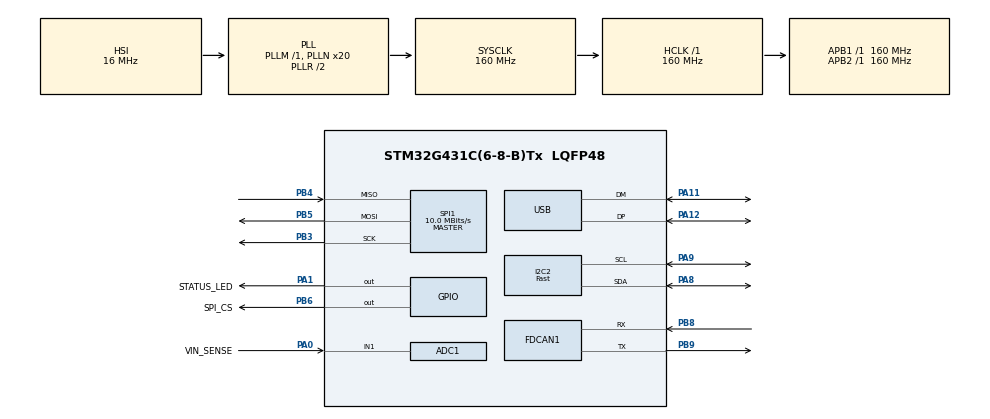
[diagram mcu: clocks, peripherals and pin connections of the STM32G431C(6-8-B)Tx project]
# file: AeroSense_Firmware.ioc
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ADC1.Channel-0\#ChannelRegularConversion=ADC_CHANNEL_1
ADC1.EnableAnalogWatchDog3=true
ADC1.NbrOfConversionFlag=1
ADC1.OffsetNumber-0\#ChannelRegularConversion=ADC_OFFSET_NONE
ADC1.Rank-0\#ChannelRegularConversion=1
ADC1.SamplingTime-0\#ChannelRegularConversion=ADC_SAMPLETIME_47CYCLES_5
ADC1.master=1
FDCAN1.CalculateBaudRateNominal=500000
FDCAN1.CalculateTimeBitNominal=2000
FDCAN1.CalculateTimeQuantumNominal=100.0
FDCAN1.NominalSyncJumpWidth=4
FDCAN1.NominalTimeSeg1=15
FDCAN1.NominalTimeSeg2=4
I2C2.I2C_Speed_Mode=I2C_Fast
I2C2.Timing=0x10F32A82
IWDG.Prescaler=IWDG_PRESCALER_32
IWDG.Reload=1999
Mcu.Family=STM32G4
Mcu.Name=STM32G431C(6-8-B)Tx
Mcu.Package=LQFP48
NVIC.PriorityGroup=NVIC_PRIORITYGROUP_4
NVIC.USB_LP_IRQn=true\:0\:0\:false\:false\:true\:false\:true\:true
PA0.GPIO_Label=VIN_SENSE
PA0.Mode=IN1-Single-Ended
PA0.Signal=ADC1_IN1
PA1.GPIO_Label=STATUS_LED
PA1.Signal=GPIO_Output
PA11.Mode=Device
PA11.Signal=USB_DM
PA12.Mode=Device
PA12.Signal=USB_DP
PA13.Mode=Serial_Wire
PA13.Signal=SYS_JTMS-SWDIO
PA14.Mode=Serial_Wire
PA14.Signal=SYS_JTCK-SWCLK
PA8.Mode=I2C
PA8.Signal=I2C2_SDA
PA9.Mode=I2C
PA9.Signal=I2C2_SCL
PB3.Mode=Full_Duplex_Master
PB3.Signal=SPI1_SCK
PB4.Mode=Full_Duplex_Master
PB4.Signal=SPI1_MISO
PB5.Mode=Full_Duplex_Master
PB5.Signal=SPI1_MOSI
PB6.GPIO_Label=SPI_CS
PB6.PinState=GPIO_PIN_SET
PB6.Signal=GPIO_Output
PB8-BOOT0.Mode=FDCAN_Activate
PB8-BOOT0.Signal=FDCAN1_RX
PB9.Mode=FDCAN_Activate
PB9.Signal=FDCAN1_TX
ProjectManager.HeapSize=0x200
ProjectManager.StackSize=0x400
ProjectManager.TargetToolchain=CMake
RCC.ADC12Freq_Value=160000000
RCC.AHBFreq_Value=160000000
RCC.APB1Freq_Value=160000000
RCC.APB1TimFreq_Value=160000000
RCC.APB2Freq_Value=160000000
RCC.APB2TimFreq_Value=160000000
RCC.CK48CLockSelection=RCC_USBCLKSOURCE_HSI48
RCC.CortexFreq_Value=160000000
RCC.EXTERNAL_CLOCK_VALUE=12288000
RCC.HCLKFreq_Value=160000000
RCC.HSE_VALUE=8000000
RCC.HSI48_VALUE=48000000
RCC.HSI_VALUE=16000000
RCC.LSE_VALUE=32768
RCC.PLLN=20
RCC.SYSCLKFreq_VALUE=160000000
RCC.SYSCLKSource=RCC_SYSCLKSOURCE_PLLCLK
RCC.USBFreq_Value=48000000
RCC.VCOOutputFreq_Value=320000000
SPI1.BaudRatePrescaler=SPI_BAUDRATEPRESCALER_16
SPI1.CalculateBaudRate=10.0 MBits/s
SPI1.DataSize=SPI_DATASIZE_8BIT
SPI1.Direction=SPI_DIRECTION_2LINES
SPI1.Mode=SPI_MODE_MASTER
SPI1.VirtualType=VM_MASTER
USB_DEVICE.CLASS_NAME_FS=CDC
USB_DEVICE.VirtualMode=Cdc
USB_DEVICE.VirtualModeFS=Cdc_FS
VP_IWDG_VS_IWDG.Mode=IWDG_Activate
VP_SYS_VS_DBSignals.Mode=DisableDeadBatterySignals
VP_USB_DEVICE_VS_USB_DEVICE_CDC_FS.Mode=CDC_FS
board=custom

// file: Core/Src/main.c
/* USER CODE BEGIN Header */
/**
  ******************************************************************************
  * @file           : main.c
  * @brief          : Main program body
  ******************************************************************************
  * @attention
  *
  * Copyright (c) 2026 STMicroelectronics.
  * All rights reserved.
  *
  * This software is licensed under terms that can be found in the LICENSE file
  * in the root directory of this software component.
  * If no LICENSE file comes with this software, it is provided AS-IS.
  *
  ******************************************************************************
  */
/* USER CODE END Header */
#include "main.h"
#include "usb_device.h"

/* USER CODE BEGIN Includes */
#include "status_led.h"
#include "measurement_manager.h"
#include "can_message_manager.h"
#include "diagnostic_manager.h"
#include "system_manager.h"
#include "scheduler.h"
#include "execution_supervision.h"
#include "configuration_manager.h"
#include "usb_driver.h"
/* USER CODE END Includes */

ADC_HandleTypeDef hadc1;

FDCAN_HandleTypeDef hfdcan1;

I2C_HandleTypeDef hi2c2;

IWDG_HandleTypeDef hiwdg;

SPI_HandleTypeDef hspi1;

/* USER CODE BEGIN PV */

MEASUREMENT_MANAGER_Status_t measurement_status;
CANMSG_Status_t canmsg_status;
SYSTEM_MANAGER_Status_t system_status;

const SCHEDULER_Tasks_t *scheduler_tasks;

uint32_t now_ms;
uint32_t last_led_toggle_ms;
static uint8_t watchdog_reset_detected = 0U;

/* USER CODE END PV */

void SystemClock_Config(void);
static void MX_GPIO_Init(void);
static void MX_ADC1_Init(void);
static void MX_FDCAN1_Init(void);
static void MX_I2C2_Init(void);
static void MX_SPI1_Init(void);
static void MX_IWDG_Init(void);

int main(void)
{

  /* MCU Configuration--------------------------------------------------------*/

  /* Reset of all peripherals, Initializes the Flash interface and the Systick. */
  HAL_Init();

  /* USER CODE BEGIN Init */

  if (__HAL_RCC_GET_FLAG(RCC_FLAG_IWDGRST) != RESET)
{
    watchdog_reset_detected = 1U;
}

  __HAL_RCC_CLEAR_RESET_FLAGS();

  /* USER CODE END Init */

  /* Configure the system clock */
  SystemClock_Config();

  /* Initialize all configured peripherals */
  MX_GPIO_Init();
  MX_ADC1_Init();
  MX_FDCAN1_Init();
  MX_I2C2_Init();
  MX_SPI1_Init();
  MX_IWDG_Init();
  MX_USB_Device_Init();
  /* USER CODE BEGIN 2 */

STATUS_LED_Init();

DIAGNOSTIC_Init();

if (watchdog_reset_detected != 0U)
{
    DIAGNOSTIC_SetFault(
        DIAGNOSTIC_FAULT_WATCHDOG_RESET,
        DIAGNOSTIC_SEVERITY_INFO);
}

measurement_status = MEASUREMENT_MANAGER_Init();

canmsg_status = CANMSG_Init();

system_status = SYSTEM_MANAGER_Init();

now_ms = HAL_GetTick();

USB_DRIVER_Init();
CONFIGURATION_MANAGER_Init();

SCHEDULER_Init(now_ms);

scheduler_tasks = SCHEDULER_GetTasks();

last_led_toggle_ms = now_ms;

EXECUTION_SUPERVISION_Init(now_ms);

  /* USER CODE END 2 */

  /* Infinite loop */
  /* USER CODE BEGIN WHILE */
while (1)
{
    now_ms = HAL_GetTick();

    SCHEDULER_Update(now_ms);
    scheduler_tasks = SCHEDULER_GetTasks();

    /*
     * 10 ms task category
     */
    if (scheduler_tasks->task_10ms_due != 0U)
    {
        system_status = SYSTEM_MANAGER_Update();

        EXECUTION_SUPERVISION_Report10msTask();
    }

    /*
     * 20 ms task category
     */
    if (scheduler_tasks->task_20ms_due != 0U)
    {
        measurement_status =
            MEASUREMENT_MANAGER_UpdateAcceleration();

        if (canmsg_status == CANMSG_OK)
        {
            CANMSG_TransmitAcceleration();
        }

        EXECUTION_SUPERVISION_Report20msTask();
    }

    /*
     * 100 ms task category
     */
    if (scheduler_tasks->task_100ms_due != 0U)
    {

        CONFIGURATION_MANAGER_Update();

        measurement_status =
            MEASUREMENT_MANAGER_UpdateTemperature();

        measurement_status =
            MEASUREMENT_MANAGER_UpdatePressure();

        measurement_status =
            MEASUREMENT_MANAGER_UpdateVIN();

        if (canmsg_status == CANMSG_OK)
        {
            CANMSG_TransmitEnvironment();
            CANMSG_TransmitPower();
        }

        switch (SYSTEM_MANAGER_GetState())
        {
            case SYSTEM_STATE_INITIALIZATION:

                STATUS_LED_Off();
                break;

            case SYSTEM_STATE_SELF_TEST:

                if ((uint32_t)(now_ms - last_led_toggle_ms) >= 500U)
                {
                    last_led_toggle_ms = now_ms;
                    STATUS_LED_Toggle();
                }

                break;

            case SYSTEM_STATE_NORMAL_OPERATION:

                STATUS_LED_On();
                break;

            case SYSTEM_STATE_DEGRADED_OPERATION:

                if ((uint32_t)(now_ms - last_led_toggle_ms) >= 500U)
                {
                    last_led_toggle_ms = now_ms;
                    STATUS_LED_Toggle();
                }

                break;

            case SYSTEM_STATE_FAULT:

                if ((uint32_t)(now_ms - last_led_toggle_ms) >= 100U)
                {
                    last_led_toggle_ms = now_ms;
                    STATUS_LED_Toggle();
                }

                break;

            default:

                STATUS_LED_Off();
                break;
        }

        EXECUTION_SUPERVISION_Report100msTask();
    }

    /*
     * 1000 ms task category
     */
    if (scheduler_tasks->task_1000ms_due != 0U)
{
    /*
     * Attempt recovery of failed measurement channels.
     */
    measurement_status =
        MEASUREMENT_MANAGER_ProcessRecovery();

    /*
     * Transmit system status.
     */
    if (canmsg_status == CANMSG_OK)
    {
        CANMSG_TransmitStatus();
    }
}

    /*
     * Execution supervision is evaluated continuously.
     *
     * Internally, evaluation occurs once every 500 ms.
     * The watchdog is refreshed only when all required
     * cyclic task categories executed successfully.
     */
    EXECUTION_SUPERVISION_Update(now_ms);

    /* USER CODE END WHILE */

  }
}

void SystemClock_Config(void)
{
  RCC_OscInitTypeDef RCC_OscInitStruct = {0};
  RCC_ClkInitTypeDef RCC_ClkInitStruct = {0};

  /** Configure the main internal regulator output voltage
  */
  HAL_PWREx_ControlVoltageScaling(PWR_REGULATOR_VOLTAGE_SCALE1_BOOST);

  /** Initializes the RCC Oscillators according to the specified parameters
  * in the RCC_OscInitTypeDef structure.
  */
  RCC_OscInitStruct.OscillatorType = RCC_OSCILLATORTYPE_HSI|RCC_OSCILLATORTYPE_HSI48
                              |RCC_OSCILLATORTYPE_LSI;
  RCC_OscInitStruct.HSIState = RCC_HSI_ON;
  RCC_OscInitStruct.HSICalibrationValue = RCC_HSICALIBRATION_DEFAULT;
  RCC_OscInitStruct.LSIState = RCC_LSI_ON;
  RCC_OscInitStruct.HSI48State = RCC_HSI48_ON;
  RCC_OscInitStruct.PLL.PLLState = RCC_PLL_ON;
  RCC_OscInitStruct.PLL.PLLSource = RCC_PLLSOURCE_HSI;
  RCC_OscInitStruct.PLL.PLLM = RCC_PLLM_DIV1;
  RCC_OscInitStruct.PLL.PLLN = 20;
  RCC_OscInitStruct.PLL.PLLP = RCC_PLLP_DIV2;
  RCC_OscInitStruct.PLL.PLLQ = RCC_PLLQ_DIV2;
  RCC_OscInitStruct.PLL.PLLR = RCC_PLLR_DIV2;
  if (HAL_RCC_OscConfig(&RCC_OscInitStruct) != HAL_OK)
  {
    Error_Handler();
  }

  /** Initializes the CPU, AHB and APB buses clocks
  */
  RCC_ClkInitStruct.ClockType = RCC_CLOCKTYPE_HCLK|RCC_CLOCKTYPE_SYSCLK
                              |RCC_CLOCKTYPE_PCLK1|RCC_CLOCKTYPE_PCLK2;
  RCC_ClkInitStruct.SYSCLKSource = RCC_SYSCLKSOURCE_PLLCLK;
  RCC_ClkInitStruct.AHBCLKDivider = RCC_SYSCLK_DIV1;
  RCC_ClkInitStruct.APB1CLKDivider = RCC_HCLK_DIV1;
  RCC_ClkInitStruct.APB2CLKDivider = RCC_HCLK_DIV1;

  if (HAL_RCC_ClockConfig(&RCC_ClkInitStruct, FLASH_LATENCY_4) != HAL_OK)
  {
    Error_Handler();
  }
}

static void MX_ADC1_Init(void)
{

  ADC_MultiModeTypeDef multimode = {0};
  ADC_ChannelConfTypeDef sConfig = {0};

  /** Common config
  */
  hadc1.Instance = ADC1;
  hadc1.Init.ClockPrescaler = ADC_CLOCK_SYNC_PCLK_DIV4;
  hadc1.Init.Resolution = ADC_RESOLUTION_12B;
  hadc1.Init.DataAlign = ADC_DATAALIGN_RIGHT;
  hadc1.Init.GainCompensation = 0;
  hadc1.Init.ScanConvMode = ADC_SCAN_DISABLE;
  hadc1.Init.EOCSelection = ADC_EOC_SINGLE_CONV;
  hadc1.Init.LowPowerAutoWait = DISABLE;
  hadc1.Init.ContinuousConvMode = DISABLE;
  hadc1.Init.NbrOfConversion = 1;
  hadc1.Init.DiscontinuousConvMode = DISABLE;
  hadc1.Init.ExternalTrigConv = ADC_SOFTWARE_START;
  hadc1.Init.ExternalTrigConvEdge = ADC_EXTERNALTRIGCONVEDGE_NONE;
  hadc1.Init.DMAContinuousRequests = DISABLE;
  hadc1.Init.Overrun = ADC_OVR_DATA_PRESERVED;
  hadc1.Init.OversamplingMode = DISABLE;
  if (HAL_ADC_Init(&hadc1) != HAL_OK)
  {
    Error_Handler();
  }

  /** Configure the ADC multi-mode
  */
  multimode.Mode = ADC_MODE_INDEPENDENT;
  if (HAL_ADCEx_MultiModeConfigChannel(&hadc1, &multimode) != HAL_OK)
  {
    Error_Handler();
  }

  /** Configure Regular Channel
  */
  sConfig.Channel = ADC_CHANNEL_1;
  sConfig.Rank = ADC_REGULAR_RANK_1;
  sConfig.SamplingTime = ADC_SAMPLETIME_47CYCLES_5;
  sConfig.SingleDiff = ADC_SINGLE_ENDED;
  sConfig.OffsetNumber = ADC_OFFSET_NONE;
  sConfig.Offset = 0;
  if (HAL_ADC_ConfigChannel(&hadc1, &sConfig) != HAL_OK)
  {
    Error_Handler();
  }

}

static void MX_FDCAN1_Init(void)
{

  hfdcan1.Instance = FDCAN1;
  hfdcan1.Init.ClockDivider = FDCAN_CLOCK_DIV1;
  hfdcan1.Init.FrameFormat = FDCAN_FRAME_CLASSIC;
  hfdcan1.Init.Mode = FDCAN_MODE_NORMAL;
  hfdcan1.Init.AutoRetransmission = DISABLE;
  hfdcan1.Init.TransmitPause = DISABLE;
  hfdcan1.Init.ProtocolException = DISABLE;
  hfdcan1.Init.NominalPrescaler = 16;
  hfdcan1.Init.NominalSyncJumpWidth = 4;
  hfdcan1.Init.NominalTimeSeg1 = 15;
  hfdcan1.Init.NominalTimeSeg2 = 4;
  hfdcan1.Init.DataPrescaler = 1;
  hfdcan1.Init.DataSyncJumpWidth = 1;
  hfdcan1.Init.DataTimeSeg1 = 1;
  hfdcan1.Init.DataTimeSeg2 = 1;
  hfdcan1.Init.StdFiltersNbr = 0;
  hfdcan1.Init.ExtFiltersNbr = 0;
  hfdcan1.Init.TxFifoQueueMode = FDCAN_TX_FIFO_OPERATION;
  if (HAL_FDCAN_Init(&hfdcan1) != HAL_OK)
  {
    Error_Handler();
  }

}

static void MX_I2C2_Init(void)
{

  hi2c2.Instance = I2C2;
  hi2c2.Init.Timing = 0x10F32A82;
  hi2c2.Init.OwnAddress1 = 0;
  hi2c2.Init.AddressingMode = I2C_ADDRESSINGMODE_7BIT;
  hi2c2.Init.DualAddressMode = I2C_DUALADDRESS_DISABLE;
  hi2c2.Init.OwnAddress2 = 0;
  hi2c2.Init.OwnAddress2Masks = I2C_OA2_NOMASK;
  hi2c2.Init.GeneralCallMode = I2C_GENERALCALL_DISABLE;
  hi2c2.Init.NoStretchMode = I2C_NOSTRETCH_DISABLE;
  if (HAL_I2C_Init(&hi2c2) != HAL_OK)
  {
    Error_Handler();
  }

  /** Configure Analogue filter
  */
  if (HAL_I2CEx_ConfigAnalogFilter(&hi2c2, I2C_ANALOGFILTER_ENABLE) != HAL_OK)
  {
    Error_Handler();
  }

  /** Configure Digital filter
  */
  if (HAL_I2CEx_ConfigDigitalFilter(&hi2c2, 0) != HAL_OK)
  {
    Error_Handler();
  }

}

static void MX_IWDG_Init(void)
{

  hiwdg.Instance = IWDG;
  hiwdg.Init.Prescaler = IWDG_PRESCALER_32;
  hiwdg.Init.Window = 4095;
  hiwdg.Init.Reload = 1999;
  if (HAL_IWDG_Init(&hiwdg) != HAL_OK)
  {
    Error_Handler();
  }

}

static void MX_SPI1_Init(void)
{

  /* SPI1 parameter configuration*/
  hspi1.Instance = SPI1;
  hspi1.Init.Mode = SPI_MODE_MASTER;
  hspi1.Init.Direction = SPI_DIRECTION_2LINES;
  hspi1.Init.DataSize = SPI_DATASIZE_8BIT;
  hspi1.Init.CLKPolarity = SPI_POLARITY_LOW;
  hspi1.Init.CLKPhase = SPI_PHASE_1EDGE;
  hspi1.Init.NSS = SPI_NSS_SOFT;
  hspi1.Init.BaudRatePrescaler = SPI_BAUDRATEPRESCALER_16;
  hspi1.Init.FirstBit = SPI_FIRSTBIT_MSB;
  hspi1.Init.TIMode = SPI_TIMODE_DISABLE;
  hspi1.Init.CRCCalculation = SPI_CRCCALCULATION_DISABLE;
  hspi1.Init.CRCPolynomial = 7;
  hspi1.Init.CRCLength = SPI_CRC_LENGTH_DATASIZE;
  hspi1.Init.NSSPMode = SPI_NSS_PULSE_ENABLE;
  if (HAL_SPI_Init(&hspi1) != HAL_OK)
  {
    Error_Handler();
  }

}

static void MX_GPIO_Init(void)
{
  GPIO_InitTypeDef GPIO_InitStruct = {0};

  /* GPIO Ports Clock Enable */
  __HAL_RCC_GPIOA_CLK_ENABLE();
  __HAL_RCC_GPIOB_CLK_ENABLE();

  /*Configure GPIO pin Output Level */
  HAL_GPIO_WritePin(STATUS_LED_GPIO_Port, STATUS_LED_Pin, GPIO_PIN_RESET);

  /*Configure GPIO pin Output Level */
  HAL_GPIO_WritePin(SPI_CS_GPIO_Port, SPI_CS_Pin, GPIO_PIN_SET);

  /*Configure GPIO pin : STATUS_LED_Pin */
  GPIO_InitStruct.Pin = STATUS_LED_Pin;
  GPIO_InitStruct.Mode = GPIO_MODE_OUTPUT_PP;
  GPIO_InitStruct.Pull = GPIO_NOPULL;
  GPIO_InitStruct.Speed = GPIO_SPEED_FREQ_LOW;
  HAL_GPIO_Init(STATUS_LED_GPIO_Port, &GPIO_InitStruct);

  /*Configure GPIO pin : SPI_CS_Pin */
  GPIO_InitStruct.Pin = SPI_CS_Pin;
  GPIO_InitStruct.Mode = GPIO_MODE_OUTPUT_PP;
  GPIO_InitStruct.Pull = GPIO_NOPULL;
  GPIO_InitStruct.Speed = GPIO_SPEED_FREQ_LOW;
  HAL_GPIO_Init(SPI_CS_GPIO_Port, &GPIO_InitStruct);

}

void Error_Handler(void)
{
  __disable_irq();
  while (1)
  {
  }
}
